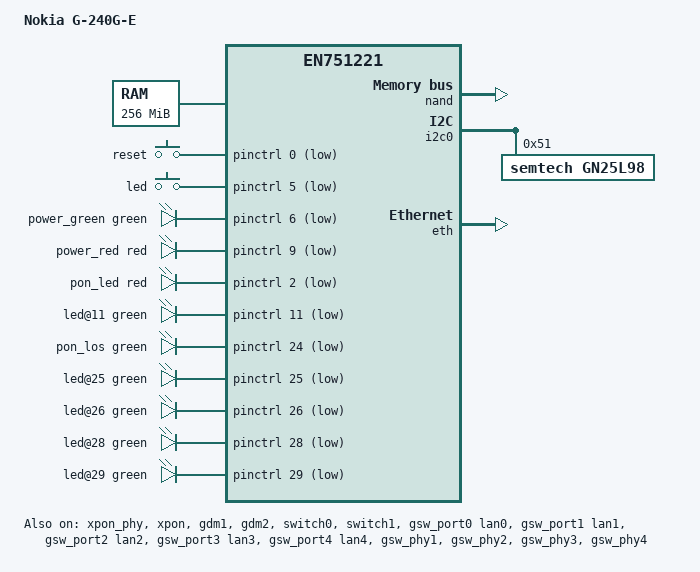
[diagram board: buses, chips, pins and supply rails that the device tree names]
// SPDX-License-Identifier: (GPL-2.0-only OR BSD-2-Clause)
/dts-v1/;

#include "en751221.dtsi"

/ {
	model = "Nokia G-240G-E";
	compatible = "nokia,g240g-e", "econet,en751221";

	memory@0 {
		device_type = "memory";
		reg = <0x00000000 0x10000000>;
	};

	chosen {
		rootdisk = <&firmware>;
		bootargs = "console=ttyS0,115200 earlycon ubi.block=0,fit root=/dev/fit0 rootwait";
		linux,usable-memory-range = <0x00020000 0x0ffe0000>;
	};

	aliases {
		led-boot = &power_green;
		led-failsafe = &power_red;
		led-upgrade = &power_red;
		led-running = &power_green;
	};

	keys {
		compatible = "gpio-keys";

		reset {
			label = "reset";
			linux,code = <KEY_RESTART>;
			gpios = <&pinctrl 0 GPIO_ACTIVE_LOW>;
			debounce-interval = <60>;
		};

		wps5 {
			label = "led";
			linux,code = <BTN_0>;
			gpios = <&pinctrl 5 GPIO_ACTIVE_LOW>;
			debounce-interval = <60>;
		};
	};

	leds {
		compatible = "gpio-leds";

		/* Power Green */
		power_green: led@6 {
			color = <LED_COLOR_ID_GREEN>;
			function = LED_FUNCTION_STATUS;
			function-enumerator = <6>;
			gpios = <&pinctrl 6 GPIO_ACTIVE_LOW>;
		};

		/* Power Red */
		power_red: led@9 {
			color = <LED_COLOR_ID_RED>;
			function = LED_FUNCTION_STATUS;
			function-enumerator = <9>;
			gpios = <&pinctrl 9 GPIO_ACTIVE_LOW>;
		};

		/* xPON/Internet */
		pon_led: led@2 {
			color = <LED_COLOR_ID_RED>;
			function = LED_FUNCTION_STATUS;
			function-enumerator = <2>;
			gpios = <&pinctrl 2 GPIO_ACTIVE_LOW>;
		};

		/* USB */
		led@11 {
			color = <LED_COLOR_ID_GREEN>;
			function = LED_FUNCTION_USB;
			function-enumerator = <11>;
			gpios = <&pinctrl 11 GPIO_ACTIVE_LOW>;
		};

		/* AUTH */
		pon_los: led@24 {
			color = <LED_COLOR_ID_GREEN>;
			function = LED_FUNCTION_STATUS;
			function-enumerator = <24>;
			gpios = <&pinctrl 24 GPIO_ACTIVE_LOW>;
		};

		/* FXS1 */
		led@25 {
			color = <LED_COLOR_ID_GREEN>;
			function = LED_FUNCTION_STATUS;
			function-enumerator = <25>;
			gpios = <&pinctrl 25 GPIO_ACTIVE_LOW>;
		};

		/* FXS2 */
		led@26 {
			color = <LED_COLOR_ID_GREEN>;
			function = LED_FUNCTION_STATUS;
			function-enumerator = <26>;
			gpios = <&pinctrl 26 GPIO_ACTIVE_LOW>;
		};

		/* Internet */
		led@28 {
			color = <LED_COLOR_ID_GREEN>;
			function = LED_FUNCTION_STATUS;
			function-enumerator = <28>;
			gpios = <&pinctrl 28 GPIO_ACTIVE_LOW>;
		};

		/* VoIP */
		led@29 {
			color = <LED_COLOR_ID_GREEN>;
			function = LED_FUNCTION_STATUS;
			function-enumerator = <29>;
			gpios = <&pinctrl 29 GPIO_ACTIVE_LOW>;
		};
	};
};

&nand {
	status = "okay";

	partitions {
		compatible = "fixed-partitions";
		#address-cells = <1>;
		#size-cells = <1>;

		partition@0 {
			label = "u-boot";
			reg = <0x000000 0x100000>;
		};

		partition@100000 {
			label = "ubi";
			compatible = "linux,ubi";
			reg = <0x100000 0x000000>;

			volumes {
				ubi-volume-art {
					volname = "ri";
					read-only;

					nvmem-layout {
						compatible = "fixed-layout";
						#address-cells = <1>;
						#size-cells = <1>;

						macaddr_ri_3e: macaddr@3e {
							compatible = "mac-base";
							reg = <0x3e 0x6>;
							#nvmem-cell-cells = <1>;
						};
					};
				};

				ubi-volume-bosa {
					volname = "bosa";
					read-only;

					nvmem-layout {
						compatible = "fixed-layout";
						#address-cells = <1>;
						#size-cells = <1>;

						cal_l98: cal@800 {
							reg = <0x0 0x800>;
						};
					};
				};

				firmware: ubi-volume-firmware {
					volname = "fit";
					compatible = "denx,uimage";
				};
			};
		};
	};
};

/*
 * One PEF32002/DXS102 provides both FXS ports.
 * Audio uses PCM1; control transactions are transported over ZSI.
 */
&pcm0 {
	airoha,dma-channel-mask = <0x3>;
	// status = "okay";
};

&zsi0 {
	/*
	 * Replaces the platform-style Zarlink ZSI bus with the ZSI-to-SPI
	 * controller required by drv_tapi_dxs.
	 */
	compatible = "econet,en751221-zsi-spi";
	// status = "okay";

	dxs0: slic@0 {
		compatible = "maxlinear,pef32002";
		reg = <0>;

		spi-max-frequency = <2000000>;
		spi-cpol;
		spi-cpha;

		/*
		 * Start in polling mode. Add interrupts only after confirming
		 * the physical DXS interrupt routing.
		 */
	};
};

&i2c0 {
	status = "okay";

	gn25l98: optical-frontend@51 {
		compatible = "semtech,gn25l98";
		reg = <0x51>;

		nvmem-cells = <&cal_l98>;
		nvmem-cell-names = "calibration";

		#optical-frontend-cells = <0>;
	};
};

&xpon_phy {
	status = "okay";

	/* Needs confirm in hardware, in `led.conf` contains `42  27  1   0   1` */
	vcc-disable-gpios = <&pinctrl 27 GPIO_ACTIVE_HIGH>;

	airoha,rx-sd-inverted;
};

&xpon {
	status = "okay";

	airoha,gpon-serial-from-mac;
	omci-vendor-id = "ALCL";

	optical-frontends = <&gn25l98>;
	optical-frontend-names = "pon";

	leds = <&pon_led>, <&pon_los>, <&pon_los>;
	led-names = "fiber", "los", "pon";
};

&eth {
	status = "okay";
};

&gdm1 {
	status = "okay";

	nvmem-cells = <&macaddr_ri_3e 0>;
	nvmem-cell-names = "mac-address";
};

&gdm2 {
	status = "okay";
	phy-mode = "internal";

	nvmem-cells = <&macaddr_ri_3e 0>;
	nvmem-cell-names = "mac-address";

	airoha,xpon-managed;
	openwrt,netdev-name = "pon0";
};

&switch0 {
	status = "okay";
};

&switch1 {
	status = "okay";
};

&gsw_port0 {
	label = "lan0";
	status = "okay";
};

&gsw_port1 {
	label = "lan1";
	status = "okay";
};

&gsw_port2 {
	label = "lan2";
	status = "okay";
};

&gsw_port3 {
	label = "lan3";
	status = "okay";
};

&gsw_port4 {
	label = "lan4";
	status = "okay";
};

&gsw_phy1 {
	status = "okay";
};

&gsw_phy2 {
	status = "okay";
};

&gsw_phy3 {
	status = "okay";
};

&gsw_phy4 {
	status = "okay";
};
